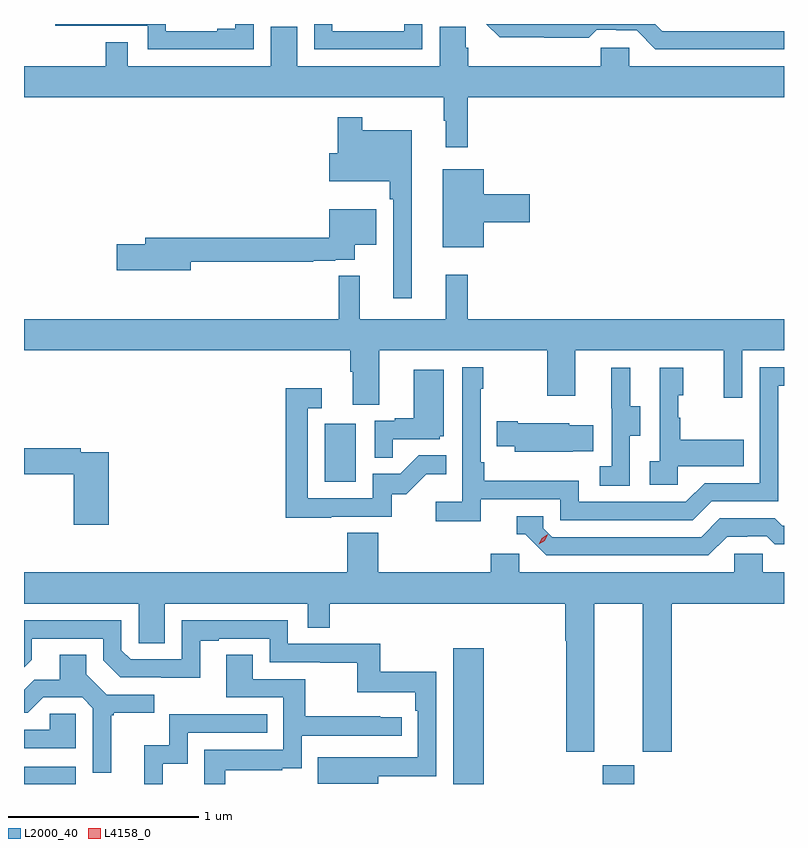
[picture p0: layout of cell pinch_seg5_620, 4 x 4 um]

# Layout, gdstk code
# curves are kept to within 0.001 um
import gdstk
lib = gdstk.Library(unit=1e-6, precision=1e-09)
def R(c, l, rs):  # rectangles x0, y0, x1, y1
    for r in rs: c.add(gdstk.rectangle(r[:2], r[2:], *l))
def P(c, l, *ps):  # polygons
    for p in ps: c.add(gdstk.Polygon(p, *l))
L2000_40 = (2000, 40)
L4158_0 = (4158, 0)

pinch_seg5_620 = lib.new_cell('pinch_seg5_620')
R(pinch_seg5_620, L2000_40, [(1011.999,870.462,1012.272,870.552), (1014.257,870.462,1014.418,871.177), (1015.046,870.462,1015.21,870.561), (1013.582,872.052,1013.746,872.359)])
P(pinch_seg5_620, L2000_40, [(1015.999,874.425),(1015.359,874.425),(1015.322,874.462),(1014.431,874.462),(1014.502,874.391),(1014.738,874.391),(1014.738,874.389),(1014.971,874.389),(1015.013,874.431),(1015.116,874.431),(1015.116,874.428),(1015.223,874.428),(1015.322,874.329),(1015.999,874.329)],
  [(1014.096,874.462),(1013.999,874.462),(1013.999,874.425),(1013.622,874.425),(1013.622,874.462),(1013.526,874.462),(1013.526,874.329),(1014.096,874.329)],
  [(1013.208,874.462),(1013.111,874.462),(1013.111,874.438),(1013.015,874.438),(1013.015,874.425),(1012.746,874.425),(1012.746,874.462),(1012.164,874.462),(1012.164,874.452),(1012.65,874.452),(1012.65,874.329),(1013.208,874.329)],
  [(1014.335,874.076),(1015.999,874.076),(1015.999,874.24),(1015.185,874.24),(1015.185,874.338),(1015.035,874.338),(1015.035,874.24),(1014.338,874.24),(1014.338,874.338),(1014.323,874.338),(1014.323,874.448),(1014.186,874.448),(1014.186,874.24),(1013.436,874.24),(1013.436,874.448),(1013.297,874.448),(1013.297,874.24),(1012.545,874.24),(1012.545,874.367),(1012.429,874.367),(1012.429,874.24),(1011.999,874.24),(1011.999,874.076),(1014.207,874.076),(1014.207,873.953),(1014.218,873.953),(1014.218,873.813),(1014.335,873.813)],
  [(1014.04,873.904),(1013.779,873.904),(1013.779,873.97),(1013.65,873.97),(1013.65,873.783),(1013.606,873.783),(1013.606,873.635),(1013.923,873.635),(1013.923,873.539),(1013.943,873.539),(1013.943,873.018),(1014.04,873.018)],
  [(1014.418,873.419),(1014.661,873.419),(1014.661,873.566),(1014.418,873.566),(1014.418,873.697),(1014.203,873.697),(1014.203,873.287),(1014.418,873.287)],
  [(1012.876,873.21),(1013.522,873.21),(1013.522,873.216),(1013.636,873.216),(1013.636,873.222),(1013.74,873.222),(1013.74,873.299),(1013.854,873.299),(1013.854,873.487),(1013.606,873.487),(1013.606,873.338),(1012.637,873.338),(1012.637,873.302),(1012.488,873.302),(1012.488,873.167),(1012.876,873.167)],
  [(1013.869,872.744),(1014.754,872.744),(1014.754,872.505),(1014.901,872.505),(1014.901,872.744),(1015.682,872.744),(1015.682,872.496),(1015.779,872.496),(1015.779,872.744),(1015.999,872.744),(1015.999,872.908),(1014.335,872.908),(1014.335,873.142),(1014.218,873.142),(1014.218,872.908),(1013.765,872.908),(1013.765,873.137),(1013.656,873.137),(1013.656,872.908),(1011.999,872.908),(1011.999,872.744),(1013.717,872.744),(1013.717,872.632),(1013.729,872.632),(1013.729,872.458),(1013.869,872.458)],
  [(1014.404,871.962),(1014.822,871.962),(1014.822,871.851),(1015.519,871.851),(1015.618,871.95),(1015.968,871.95),(1015.968,872.559),(1015.999,872.559),(1015.999,872.655),(1015.872,872.655),(1015.872,872.046),(1015.581,872.046),(1015.482,871.947),(1014.918,871.947),(1014.918,872.059),(1014.422,872.059),(1014.422,872.155),(1014.402,872.155),(1014.402,872.543),(1014.415,872.543),(1014.415,872.656),(1014.306,872.656),(1014.306,871.948),(1014.165,871.948),(1014.165,871.846),(1014.404,871.846)],
  [(1015.188,872.296),(1015.243,872.296),(1015.243,872.451),(1015.189,872.451),(1015.189,872.653),(1015.091,872.653),(1015.091,872.439),(1015.092,872.439),(1015.092,872.135),(1015.029,872.135),(1015.029,872.032),(1015.188,872.032)],
  [(1015.44,872.135),(1015.787,872.135),(1015.787,872.275),(1015.453,872.275),(1015.453,872.39),(1015.443,872.39),(1015.443,872.508),(1015.468,872.508),(1015.468,872.653),(1015.344,872.653),(1015.344,872.162),(1015.293,872.162),(1015.293,872.037),(1015.44,872.037)],
  [(1013.939,872.277),(1014.186,872.277),(1014.186,872.292),(1014.208,872.292),(1014.208,872.641),(1014.05,872.641),(1014.05,872.386),(1013.951,872.386),(1013.951,872.373),(1013.844,872.373),(1013.844,872.179),(1013.939,872.179)],
  [(1013.615,871.869),(1013.934,871.869),(1013.934,871.986),(1014.01,871.986),(1014.117,872.093),(1014.221,872.093),(1014.221,872.192),(1014.077,872.192),(1013.979,872.094),(1013.835,872.094),(1013.835,871.965),(1013.493,871.965),(1013.493,872.439),(1013.566,872.439),(1013.566,872.545),(1013.377,872.545),(1013.377,871.864),(1013.615,871.864)],
  [(1014.887,872.213),(1014.995,872.213),(1014.995,872.35),(1014.87,872.35),(1014.87,872.362),(1014.598,872.362),(1014.598,872.37),(1014.487,872.37),(1014.487,872.24),(1014.581,872.24),(1014.581,872.21),(1014.887,872.21)],
  [(1012.445,872.208),(1012.298,872.208),(1012.298,872.228),(1011.999,872.228),(1011.999,872.092),(1012.262,872.092),(1012.262,871.827),(1012.445,871.827)],
  [(1015.699,871.764),(1015.806,871.764),(1015.806,871.767),(1015.909,871.767),(1015.951,871.725),(1015.999,871.725),(1015.999,871.821),(1015.99,871.821),(1015.951,871.86),(1015.662,871.86),(1015.563,871.761),(1014.78,871.761),(1014.732,871.809),(1014.732,871.872),(1014.593,871.872),(1014.593,871.776),(1014.636,871.776),(1014.747,871.665),(1015.6,871.665)],
  [(1015,871.412),(1015.256,871.412),(1015.256,870.633),(1015.409,870.633),(1015.409,871.412),(1015.999,871.412),(1015.999,871.576),(1015.887,871.576),(1015.887,871.674),(1015.737,871.674),(1015.737,871.576),(1014.606,871.576),(1014.606,871.674),(1014.455,871.674),(1014.455,871.576),(1013.864,871.576),(1013.864,871.784),(1013.699,871.784),(1013.699,871.576),(1011.999,871.576),(1011.999,871.412),(1012.602,871.412),(1012.602,871.204),(1012.741,871.204),(1012.741,871.412),(1013.493,871.412),(1013.493,871.285),(1013.609,871.285),(1013.609,871.412),(1014.848,871.412),(1014.848,871.216),(1014.853,871.216),(1014.853,870.633),(1015,870.633)],
  [(1013.863,870.502),(1014.168,870.502),(1014.168,871.054),(1013.875,871.054),(1013.875,871.2),(1013.388,871.2),(1013.388,871.323),(1012.83,871.323),(1012.83,871.119),(1012.56,871.119),(1012.512,871.167),(1012.512,871.323),(1011.999,871.323),(1011.999,871.077),(1012.039,871.117),(1012.039,871.227),(1012.416,871.227),(1012.416,871.113),(1012.506,871.023),(1012.927,871.022),(1012.927,871.215),(1013.023,871.215),(1013.023,871.227),(1013.292,871.227),(1013.292,871.104),(1013.557,871.104),(1013.557,871.099),(1013.754,871.099),(1013.754,870.944),(1014.059,870.944),(1014.059,870.848),(1014.072,870.848),(1014.072,870.603),(1013.545,870.604),(1013.545,870.464),(1013.863,870.464)],
  [(1013.059,870.534),(1013.357,870.534),(1013.357,870.545),(1013.46,870.545),(1013.46,870.717),(1013.986,870.717),(1013.986,870.813),(1013.873,870.813),(1013.873,870.818),(1013.48,870.818),(1013.48,871.014),(1013.203,871.014),(1013.203,871.142),(1013.063,871.142),(1013.063,870.918),(1013.364,870.918),(1013.364,870.642),(1012.948,870.642),(1012.948,870.462),(1013.059,870.462)],
  [(1012.459,870.825),(1012.471,870.825),(1012.471,870.836),(1012.684,870.836),(1012.684,870.933),(1012.434,870.933),(1012.327,871.04),(1012.327,871.142),(1012.187,871.142),(1012.187,871.01),(1012.052,871.01),(1011.999,870.957),(1011.999,870.837),(1012.018,870.837),(1012.099,870.918),(1012.305,870.918),(1012.362,870.861),(1012.362,870.522),(1012.459,870.522)],
  [(1012.272,870.831),(1012.135,870.831),(1012.135,870.747),(1011.999,870.747),(1011.999,870.651),(1012.272,870.651)],
  [(1012.728,870.569),(1012.86,870.569),(1012.86,870.732),(1013.279,870.732),(1013.279,870.828),(1012.764,870.828),(1012.764,870.667),(1012.631,870.667),(1012.631,870.462),(1012.728,870.462)])
P(pinch_seg5_620, L4158_0, [(1014.708,871.723),(1014.708,871.723),(1014.725,871.756),(1014.756,871.776),(1014.756,871.776),(1014.756,871.776),(1014.74,871.743),(1014.709,871.723)])

lib.write_gds('pinch_seg5_620.gds')
